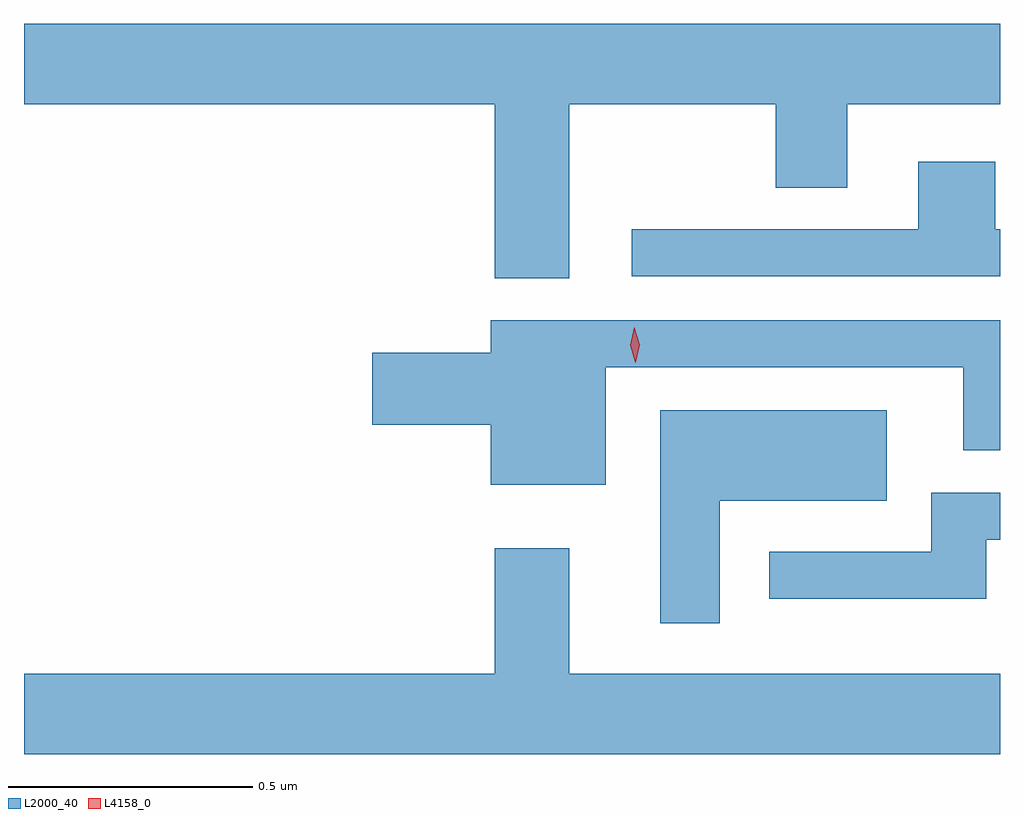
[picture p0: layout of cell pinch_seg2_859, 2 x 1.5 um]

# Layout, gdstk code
import gdstk
lib = gdstk.Library(unit=1e-6, precision=1e-09)
def P(c, l, *ps):  # polygons
    for p in ps: c.add(gdstk.Polygon(p, *l))
L2000_40 = (2000, 40)
L4158_0 = (4158, 0)

pinch_seg2_859 = lib.new_cell('pinch_seg2_859')
P(pinch_seg2_859, L2000_40, [(773.797,623.66),(774.22,623.66),(774.22,623.488),(774.367,623.488),(774.367,623.66),(774.68,623.66),(774.68,623.824),(772.68,623.824),(772.68,623.66),(773.645,623.66),(773.645,623.303),(773.797,623.303)],
  [(774.68,623.403),(774.67,623.403),(774.67,623.542),(774.512,623.542),(774.512,623.403),(773.925,623.403),(773.925,623.307),(774.68,623.307)],
  [(773.872,623.121),(774.605,623.121),(774.605,622.95),(774.68,622.95),(774.68,623.217),(773.636,623.217),(773.636,623.15),(773.394,623.15),(773.394,623.003),(773.636,623.003),(773.636,622.88),(773.872,622.88)],
  [(774.106,622.847),(774.448,622.847),(774.448,623.032),(773.984,623.032),(773.984,622.596),(774.106,622.596)],
  [(774.652,622.767),(774.68,622.767),(774.68,622.863),(774.539,622.863),(774.539,622.743),(774.207,622.743),(774.207,622.646),(774.652,622.646)],
  [(774.68,622.492),(773.797,622.492),(773.797,622.75),(773.645,622.75),(773.645,622.492),(772.68,622.492),(772.68,622.328),(774.68,622.328)])
P(pinch_seg2_859, L4158_0, [(773.933,623.13),(773.933,623.131),(773.922,623.166),(773.931,623.203),(773.931,623.203),(773.931,623.203),(773.942,623.167),(773.934,623.131)])

lib.write_gds('pinch_seg2_859.gds')
